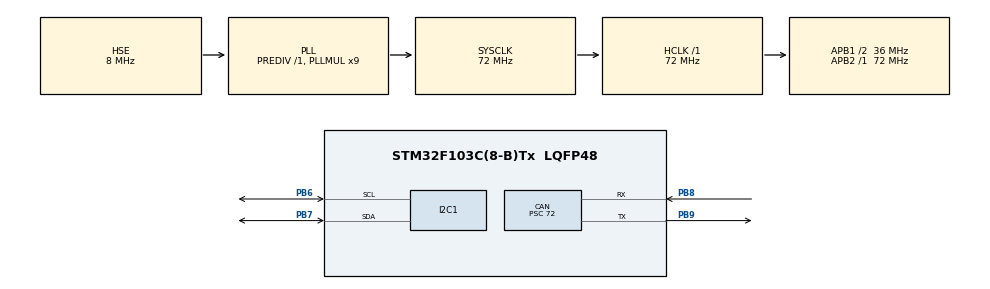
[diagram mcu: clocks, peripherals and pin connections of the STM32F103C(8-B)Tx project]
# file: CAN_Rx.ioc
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CAN.BS1=CAN_BS1_2TQ
CAN.CalculateBaudRate=125000
CAN.CalculateTimeBit=8000
CAN.CalculateTimeQuantum=2000.0
CAN.Prescaler=72
I2C1.I2C_Mode=I2C_Fast
Mcu.Family=STM32F1
Mcu.Name=STM32F103C(8-B)Tx
Mcu.Package=LQFP48
NVIC.CAN1_RX1_IRQn=true\:0\:0\:false\:false\:true\:true\:true\:true
NVIC.PriorityGroup=NVIC_PRIORITYGROUP_4
PA13.Mode=Serial_Wire
PA13.Signal=SYS_JTMS-SWDIO
PA14.Mode=Serial_Wire
PA14.Signal=SYS_JTCK-SWCLK
PB6.Mode=I2C
PB6.Signal=I2C1_SCL
PB7.Mode=I2C
PB7.Signal=I2C1_SDA
PB8.Mode=CAN_Activate
PB8.Signal=CAN_RX
PB9.Mode=CAN_Activate
PB9.Signal=CAN_TX
PD0-OSC_IN.Mode=HSE-External-Oscillator
PD0-OSC_IN.Signal=RCC_OSC_IN
PD1-OSC_OUT.Mode=HSE-External-Oscillator
PD1-OSC_OUT.Signal=RCC_OSC_OUT
ProjectManager.HeapSize=0x200
ProjectManager.StackSize=0x400
ProjectManager.TargetToolchain=STM32CubeIDE
RCC.AHBFreq_Value=72000000
RCC.APB1CLKDivider=RCC_HCLK_DIV2
RCC.APB1Freq_Value=36000000
RCC.APB1TimFreq_Value=72000000
RCC.APB2Freq_Value=72000000
RCC.APB2TimFreq_Value=72000000
RCC.HCLKFreq_Value=72000000
RCC.PLLMUL=RCC_PLL_MUL9
RCC.PLLSourceVirtual=RCC_PLLSOURCE_HSE
RCC.SYSCLKFreq_VALUE=72000000
RCC.SYSCLKSource=RCC_SYSCLKSOURCE_PLLCLK
RCC.USBFreq_Value=72000000
board=custom

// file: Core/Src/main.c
/* USER CODE BEGIN Header */
/**
 ******************************************************************************
 * @file           : main.c
 * @brief          : Main program body
 ******************************************************************************
 * @attention
 *
 * Copyright (c) 2024 STMicroelectronics.
 * All rights reserved.
 *
 * This software is licensed under terms that can be found in the LICENSE file
 * in the root directory of this software component.
 * If no LICENSE file comes with this software, it is provided AS-IS.
 *
 ******************************************************************************
 */
/* USER CODE END Header */
#include "main.h"

/* USER CODE BEGIN Includes */
#include "fonts.h"
#include "ssd1306.h"
#include <stdio.h>
/* USER CODE END Includes */

CAN_HandleTypeDef hcan;

I2C_HandleTypeDef hi2c1;

void SystemClock_Config(void);
static void MX_GPIO_Init(void);
static void MX_CAN_Init(void);
static void MX_I2C1_Init(void);

/* USER CODE BEGIN 0 */
CAN_FilterTypeDef sFilterConfig;
CAN_RxHeaderTypeDef RxHeader;

uint8_t RxData[8];
char Bat1[11];
char Bat2[11];
char Bat3[11];
uint32_t adc1 = 0;
uint32_t adc2 = 0;
uint32_t adc3 = 0;
float voltage = 0;
float R1 = 2.7;
float R2 = 10;
float conversion_factor = 0;

void HAL_CAN_RxFifo1MsgPendingCallback(CAN_HandleTypeDef *hcan) {
	HAL_CAN_GetRxMessage(hcan, CAN_RX_FIFO1, &RxHeader, RxData);
	if (RxData[5] == 1) {
		adc1 = (RxData[0] << 24) + (RxData[1] << 16) + (RxData[2] << 8)
				+ RxData[3];

	} else if (RxData[5] == 2) {
		adc2 = (RxData[0] << 24) + (RxData[1] << 16) + (RxData[2] << 8)
				+ RxData[3];

	}

	else if (RxData[5] == 3) {
		adc3 = (RxData[0] << 24) + (RxData[1] << 16) + (RxData[2] << 8)
				+ RxData[3];

	}
}
/* USER CODE END 0 */

int main(void) {

	/* MCU Configuration--------------------------------------------------------*/

	/* Reset of all peripherals, Initializes the Flash interface and the Systick. */
	HAL_Init();

	/* Configure the system clock */
	SystemClock_Config();

	/* Initialize all configured peripherals */
	MX_GPIO_Init();
	MX_CAN_Init();
	MX_I2C1_Init();
	/* USER CODE BEGIN 2 */
	SSD1306_Init();
	memset(Bat1, 0, sizeof(Bat1));
	memset(Bat2, 0, sizeof(Bat1));
	memset(Bat3, 0, sizeof(Bat1));

	conversion_factor= (R1 + R2) / R2; //To convert 3.3V level data to 4.2V level
	HAL_CAN_Start(&hcan);
	// Configure the filter
	sFilterConfig.FilterActivation = CAN_FILTER_ENABLE;
	sFilterConfig.FilterFIFOAssignment = CAN_FILTER_FIFO1;
	sFilterConfig.FilterMode = CAN_FILTERMODE_IDMASK;
	sFilterConfig.FilterIdHigh = 0x6A5 << 5;
	sFilterConfig.FilterIdLow = 0;
	sFilterConfig.FilterMaskIdHigh = 0x7FF << 5; // SET 0 to unfilter
	sFilterConfig.FilterMaskIdLow = 0;
	sFilterConfig.FilterScale = CAN_FILTERSCALE_32BIT;
	HAL_CAN_ConfigFilter(&hcan, &sFilterConfig);
	// Activate the notification
	HAL_CAN_ActivateNotification(&hcan, CAN_IT_RX_FIFO1_MSG_PENDING);
	/* USER CODE END 2 */

	/* Infinite loop */
	while (1) {

		/* USER CODE BEGIN 3 */

		voltage = 3.3 * (float) adc1 / 4095;
		sprintf(Bat1, "V1 = %0.2fV", voltage * conversion_factor);

		voltage = 3.3 * (float) adc2 / 4095;
		sprintf(Bat2, "V2 = %0.2fV", voltage * conversion_factor);

		voltage = 3.3 * (float) adc3 / 4095;
		sprintf(Bat3, "V2 = %0.2fV", voltage * conversion_factor);

		SSD1306_Clear();
		SSD1306_GotoXY(1, 0);
		SSD1306_Puts(Bat1, &Font_11x18, 1);

		SSD1306_GotoXY(1, 22);
		SSD1306_Puts(Bat2, &Font_11x18, 1);

		SSD1306_GotoXY(1, 44);
		SSD1306_Puts(Bat3, &Font_11x18, 1);

		SSD1306_UpdateScreen();
		HAL_Delay(1000);
	}
	/* USER CODE END 3 */
}

void SystemClock_Config(void) {
	RCC_OscInitTypeDef RCC_OscInitStruct = { 0 };
	RCC_ClkInitTypeDef RCC_ClkInitStruct = { 0 };

	/** Initializes the RCC Oscillators according to the specified parameters
	 * in the RCC_OscInitTypeDef structure.
	 */
	RCC_OscInitStruct.OscillatorType = RCC_OSCILLATORTYPE_HSE;
	RCC_OscInitStruct.HSEState = RCC_HSE_ON;
	RCC_OscInitStruct.HSEPredivValue = RCC_HSE_PREDIV_DIV1;
	RCC_OscInitStruct.HSIState = RCC_HSI_ON;
	RCC_OscInitStruct.PLL.PLLState = RCC_PLL_ON;
	RCC_OscInitStruct.PLL.PLLSource = RCC_PLLSOURCE_HSE;
	RCC_OscInitStruct.PLL.PLLMUL = RCC_PLL_MUL9;
	if (HAL_RCC_OscConfig(&RCC_OscInitStruct) != HAL_OK) {
		Error_Handler();
	}

	/** Initializes the CPU, AHB and APB buses clocks
	 */
	RCC_ClkInitStruct.ClockType = RCC_CLOCKTYPE_HCLK | RCC_CLOCKTYPE_SYSCLK
			| RCC_CLOCKTYPE_PCLK1 | RCC_CLOCKTYPE_PCLK2;
	RCC_ClkInitStruct.SYSCLKSource = RCC_SYSCLKSOURCE_PLLCLK;
	RCC_ClkInitStruct.AHBCLKDivider = RCC_SYSCLK_DIV1;
	RCC_ClkInitStruct.APB1CLKDivider = RCC_HCLK_DIV2;
	RCC_ClkInitStruct.APB2CLKDivider = RCC_HCLK_DIV1;

	if (HAL_RCC_ClockConfig(&RCC_ClkInitStruct, FLASH_LATENCY_2) != HAL_OK) {
		Error_Handler();
	}
}

static void MX_CAN_Init(void) {

	hcan.Instance = CAN1;
	hcan.Init.Prescaler = 72;
	hcan.Init.Mode = CAN_MODE_NORMAL;
	hcan.Init.SyncJumpWidth = CAN_SJW_1TQ;
	hcan.Init.TimeSeg1 = CAN_BS1_2TQ;
	hcan.Init.TimeSeg2 = CAN_BS2_1TQ;
	hcan.Init.TimeTriggeredMode = DISABLE;
	hcan.Init.AutoBusOff = DISABLE;
	hcan.Init.AutoWakeUp = DISABLE;
	hcan.Init.AutoRetransmission = DISABLE;
	hcan.Init.ReceiveFifoLocked = DISABLE;
	hcan.Init.TransmitFifoPriority = DISABLE;
	if (HAL_CAN_Init(&hcan) != HAL_OK) {
		Error_Handler();
	}

}

static void MX_I2C1_Init(void) {

	hi2c1.Instance = I2C1;
	hi2c1.Init.ClockSpeed = 400000;
	hi2c1.Init.DutyCycle = I2C_DUTYCYCLE_2;
	hi2c1.Init.OwnAddress1 = 0;
	hi2c1.Init.AddressingMode = I2C_ADDRESSINGMODE_7BIT;
	hi2c1.Init.DualAddressMode = I2C_DUALADDRESS_DISABLE;
	hi2c1.Init.OwnAddress2 = 0;
	hi2c1.Init.GeneralCallMode = I2C_GENERALCALL_DISABLE;
	hi2c1.Init.NoStretchMode = I2C_NOSTRETCH_DISABLE;
	if (HAL_I2C_Init(&hi2c1) != HAL_OK) {
		Error_Handler();
	}

}

static void MX_GPIO_Init(void) {

	/* GPIO Ports Clock Enable */
	__HAL_RCC_GPIOD_CLK_ENABLE();
	__HAL_RCC_GPIOA_CLK_ENABLE();
	__HAL_RCC_GPIOB_CLK_ENABLE();

}

void Error_Handler(void) {
	__disable_irq();
	while (1) {
	}
}
